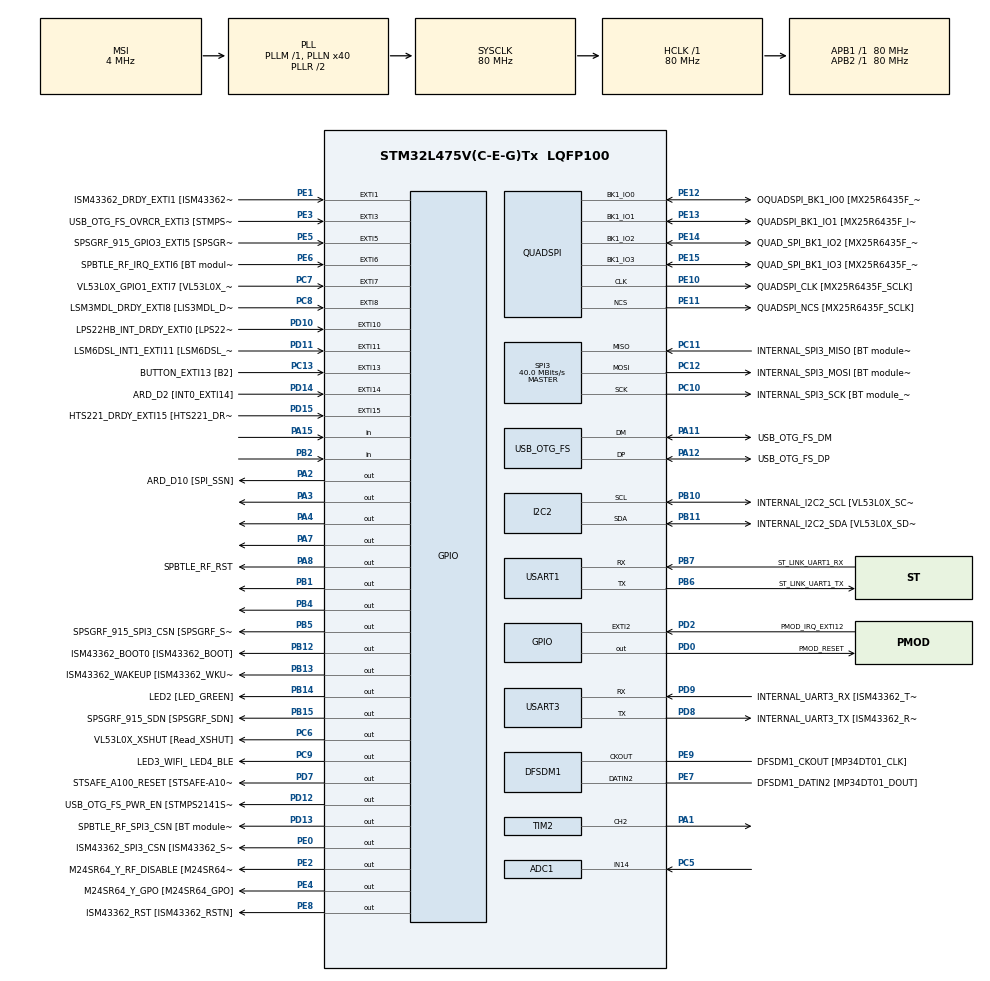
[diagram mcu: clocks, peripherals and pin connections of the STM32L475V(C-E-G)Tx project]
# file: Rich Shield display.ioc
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ADC1.Channel-1\#ChannelRegularConversion=ADC_CHANNEL_14
ADC1.NbrOfConversionFlag=1
ADC1.OffsetNumber-1\#ChannelRegularConversion=ADC_OFFSET_NONE
ADC1.Rank-1\#ChannelRegularConversion=1
ADC1.SamplingTime-1\#ChannelRegularConversion=ADC_SAMPLETIME_2CYCLES_5
ADC1.master=1
I2C2.Timing=0x10909CEC
Mcu.Family=STM32L4
Mcu.Name=STM32L475V(C-E-G)Tx
Mcu.Package=LQFP100
NVIC.EXTI15_10_IRQn=true\:0\:0\:false\:false\:true\:true\:true\:true
NVIC.EXTI9_5_IRQn=true\:0\:0\:false\:false\:true\:true\:true\:true
NVIC.PriorityGroup=NVIC_PRIORITYGROUP_4
NVIC.TIM7_IRQn=true\:0\:0\:false\:false\:true\:true\:true\:true
PA0.GPIO_PuPd=GPIO_PULLUP
PA0.GPIO_Speed=GPIO_SPEED_FREQ_HIGH
PA0.Signal=S_TIM2_CH1
PA1.GPIO_PuPd=GPIO_PULLUP
PA1.GPIO_Speed=GPIO_SPEED_FREQ_HIGH
PA1.Signal=S_TIM2_CH2
PA10.GPIO_Label=USB_OTG_FS_ID
PA10.Signal=USB_OTG_FS_ID
PA11.GPIO_Label=USB_OTG_FS_DM
PA11.Mode=Device_Only
PA11.Signal=USB_OTG_FS_DM
PA12.GPIO_Label=USB_OTG_FS_DP
PA12.Mode=Device_Only
PA12.Signal=USB_OTG_FS_DP
PA13\ (JTMS-SWDIO).GPIO_Label=SYS_JTMS_SWDIO
PA13\ (JTMS-SWDIO).Mode=Serial_Wire
PA13\ (JTMS-SWDIO).Signal=SYS_JTMS-SWDIO
PA14\ (JTCK-SWCLK).GPIO_Label=SYS_JTCK_SWCLK
PA14\ (JTCK-SWCLK).Mode=Serial_Wire
PA14\ (JTCK-SWCLK).Signal=SYS_JTCK-SWCLK
PA15\ (JTDI).GPIO_PuPd=GPIO_PULLUP
PA15\ (JTDI).Signal=GPIO_Input
PA2.GPIO_Label=ARD_D10 [SPI_SSN]
PA2.PinState=GPIO_PIN_SET
PA2.Signal=GPIO_Output
PA3.Signal=GPIO_Output
PA4.Signal=GPIO_Output
PA5.GPIO_Label=ARD_D13 [SPI1_SCK]
PA5.Signal=SPI1_SCK
PA6.GPIO_Label=ARD_D12 [SPI1_MISO]
PA6.Signal=SPI1_MISO
PA7.GPIO_ModeDefaultOutputPP=GPIO_MODE_OUTPUT_PP
PA7.PinState=GPIO_PIN_SET
PA7.Signal=GPIO_Output
PA8.GPIO_Label=SPBTLE_RF_RST
PA8.Signal=GPIO_Output
PA9.GPIO_Label=USB_OTG_FS_VBUS [STMPS2141STR_OUT]
PA9.Signal=USB_OTG_FS_VBUS
PB1.GPIO_Speed=GPIO_SPEED_FREQ_HIGH
PB1.Signal=GPIO_Output
PB10.GPIO_Label=INTERNAL_I2C2_SCL [VL53L0X_SCL]
PB10.GPIO_Pu=GPIO_PULLUP
PB10.Mode=I2C
PB10.Signal=I2C2_SCL
PB11.GPIO_Label=INTERNAL_I2C2_SDA [VL53L0X_SDA]
PB11.GPIO_Pu=GPIO_PULLUP
PB11.Mode=I2C
PB11.Signal=I2C2_SDA
PB12.GPIO_Label=ISM43362_BOOT0 [ISM43362_BOOT]
PB12.Signal=GPIO_Output
PB13.GPIO_Label=ISM43362_WAKEUP [ISM43362_WKUP]
PB13.Signal=GPIO_Output
PB14.GPIO_Label=LED2 [LED_GREEN]
PB14.Signal=GPIO_Output
PB15.GPIO_Label=SPSGRF_915_SDN [SPSGRF_SDN]
PB15.Signal=GPIO_Output
PB2.GPIO_PuPd=GPIO_PULLUP
PB2.Signal=GPIO_Input
PB3\ (JTDO-TRACESWO).GPIO_Label=SYS_JTD0_SWO
PB3\ (JTDO-TRACESWO).Signal=SYS_JTDO-SWO
PB4\ (NJTRST).Signal=GPIO_Output
PB5.GPIO_Label=SPSGRF_915_SPI3_CSN [SPSGRF_SPI_CS]
PB5.PinState=GPIO_PIN_SET
PB5.Signal=GPIO_Output
PB6.GPIO_Label=ST_LINK_UART1_TX
PB6.Mode=Asynchronous
PB6.Signal=USART1_TX
PB7.GPIO_Label=ST_LINK_UART1_RX
PB7.Mode=Asynchronous
PB7.Signal=USART1_RX
PB8.GPIO_Label=ARD_D15 [I2C1_SCL]
PB8.Signal=I2C1_SCL
PB9.GPIO_Label=ARD_D14 [I2C1_SDA]
PB9.Signal=I2C1_SDA
PC0.GPIO_Label=ARD_A5 [ADC]
PC0.Signal=ADCx_IN1
PC1.GPIO_Label=ARD_A4 [ADC]
PC1.Signal=ADCx_IN2
PC10.GPIO_Label=INTERNAL_SPI3_SCK [BT module_SPI_SCLK] [ISM43362_SCK]
PC10.Mode=Full_Duplex_Master
PC10.Signal=SPI3_SCK
PC11.GPIO_Label=INTERNAL_SPI3_MISO [BT module_SPI_MISO] [ISM43362_MISO]
PC11.Mode=Full_Duplex_Master
PC11.Signal=SPI3_MISO
PC12.GPIO_Label=INTERNAL_SPI3_MOSI [BT module_SPI_MOSI] [ISM43362_MOSI]
PC12.Mode=Full_Duplex_Master
PC12.Signal=SPI3_MOSI
PC13.GPIO_Label=BUTTON_EXTI13 [B2]
PC13.GPIO_ModeDefaultEXTI=GPIO_MODE_IT_FALLING
PC13.Signal=GPXTI13
PC14-OSC32_IN\ (PC14).Mode=LSE-External-Oscillator
PC14-OSC32_IN\ (PC14).Signal=RCC_OSC32_IN
PC15-OSC32_OUT\ (PC15).Mode=LSE-External-Oscillator
PC15-OSC32_OUT\ (PC15).Signal=RCC_OSC32_OUT
PC2.GPIO_Label=ARD_A3 [ADC]
PC2.Signal=ADCx_IN3
PC3.GPIO_Label=ARD_A2 [ADC]
PC3.Signal=ADCx_IN4
PC4.GPIO_Label=ARD_A1 [ADC]
PC4.Signal=ADCx_IN13
PC5.Signal=ADCx_IN14
PC6.GPIO_Label=VL53L0X_XSHUT [Read_XSHUT]
PC6.Signal=GPIO_Output
PC7.GPIO_Label=VL53L0X_GPIO1_EXTI7 [VL53L0X_GPIO1]
PC7.Signal=GPXTI7
PC8.GPIO_Label=LSM3MDL_DRDY_EXTI8 [LIS3MDL_DRDY]
PC8.Signal=GPXTI8
PC9.GPIO_Label=LED3_WIFI_ LED4_BLE
PC9.Signal=GPIO_Output
PD0.GPIO_Label=PMOD_RESET
PD0.Signal=GPIO_Output
PD1.GPIO_Label=PMOD_SPI2_SCK
PD1.Signal=SPI2_SCK
PD10.GPIO_Label=LPS22HB_INT_DRDY_EXTI0 [LPS22HB_INT_DRDY] 
PD10.Signal=GPXTI10
PD11.GPIO_Label=LSM6DSL_INT1_EXTI11 [LSM6DSL_INT1]
PD11.Signal=GPXTI11
PD12.GPIO_Label=USB_OTG_FS_PWR_EN [STMPS2141STR_EN]
PD12.Signal=GPIO_Output
PD13.GPIO_Label=SPBTLE_RF_SPI3_CSN [BT module_SPI_CS]
PD13.PinState=GPIO_PIN_SET
PD13.Signal=GPIO_Output
PD14.GPIO_Label=ARD_D2 [INT0_EXTI14]
PD14.Signal=GPXTI14
PD15.GPIO_Label=HTS221_DRDY_EXTI15 [HTS221_DRDY]
PD15.Signal=GPXTI15
PD2.GPIO_Label=PMOD_IRQ_EXTI12
PD2.Signal=GPXTI2
PD3.GPIO_Label=PMOD_UART2_CTS
PD3.Signal=USART2_CTS
PD4.GPIO_Label=PMOD_UART2_RTS
PD4.Signal=USART2_RTS
PD5.GPIO_Label=PMOD_UART2_TX
PD5.Signal=USART2_TX
PD6.GPIO_Label=PMOD_UART2_RX
PD6.Signal=USART2_RX
PD7.GPIO_Label=STSAFE_A100_RESET [STSAFE-A100_RESET]
PD7.Signal=GPIO_Output
PD8.GPIO_Label=INTERNAL_UART3_TX [ISM43362_RX]
PD8.Mode=Asynchronous
PD8.Signal=USART3_TX
PD9.GPIO_Label=INTERNAL_UART3_RX [ISM43362_TX]
PD9.Mode=Asynchronous
PD9.Signal=USART3_RX
PE0.GPIO_Label=ISM43362_SPI3_CSN [ISM43362_SSN]
PE0.PinState=GPIO_PIN_SET
PE0.Signal=GPIO_Output
PE1.GPIO_Label=ISM43362_DRDY_EXTI1 [ISM43362_DATARDY]
PE1.Signal=GPXTI1
PE10.GPIO_Label=QUADSPI_CLK [MX25R6435F_SCLK]
PE10.Mode=Single Bank
PE10.Signal=QUADSPI_CLK
PE11.GPIO_Label=QUADSPI_NCS [MX25R6435F_SCLK]
PE11.Mode=Single Bank
PE11.Signal=QUADSPI_NCS
PE12.GPIO_Label=OQUADSPI_BK1_IO0 [MX25R6435F_IO0]
PE12.Mode=Single Bank
PE12.Signal=QUADSPI_BK1_IO0
PE13.GPIO_Label=QUADSPI_BK1_IO1 [MX25R6435F_IO1]
PE13.Mode=Single Bank
PE13.Signal=QUADSPI_BK1_IO1
PE14.GPIO_Label=QUAD_SPI_BK1_IO2 [MX25R6435F_IO2]
PE14.Mode=Single Bank
PE14.Signal=QUADSPI_BK1_IO2
PE15.GPIO_Label=QUAD_SPI_BK1_IO3 [MX25R6435F_IO3]
PE15.Mode=Single Bank
PE15.Signal=QUADSPI_BK1_IO3
PE2.GPIO_Label=M24SR64_Y_RF_DISABLE [M24SR64_RFDIS]
PE2.Signal=GPIO_Output
PE3.GPIO_Label=USB_OTG_FS_OVRCR_EXTI3 [STMPS2141STR_FAULT]
PE3.Signal=GPXTI3
PE4.GPIO_Label=M24SR64_Y_GPO [M24SR64_GPO]
PE4.Signal=GPIO_Output
PE5.GPIO_Label=SPSGRF_915_GPIO3_EXTI5 [SPSGRF_GPIO_3]
PE5.Signal=GPXTI5
PE6.GPIO_Label=SPBTLE_RF_IRQ_EXTI6 [BT module_SPI_IRQ]
PE6.Signal=GPXTI6
PE7.GPIO_Label=DFSDM1_DATIN2 [MP34DT01_DOUT]
PE7.Signal=S_DATAIN2DFSDM1
PE8.GPIO_Label=ISM43362_RST [ISM43362_RSTN]
PE8.Signal=GPIO_Output
PE9.GPIO_Label=DFSDM1_CKOUT [MP34DT01_CLK]
PE9.Signal=S_CKOUTDFSDM1
ProjectManager.HeapSize=0x200
ProjectManager.StackSize=0x400
ProjectManager.TargetToolchain=STM32CubeIDE
RCC.ADCFreq_Value=48000000
RCC.AHBFreq_Value=80000000
RCC.APB1Freq_Value=80000000
RCC.APB1TimFreq_Value=80000000
RCC.APB2Freq_Value=80000000
RCC.APB2TimFreq_Value=80000000
RCC.CortexFreq_Value=80000000
RCC.HCLKFreq_Value=80000000
RCC.HSE_VALUE=8000000
RCC.HSI_VALUE=16000000
RCC.MSI_VALUE=4000000
RCC.PLLN=40
RCC.PLLSAI1N=24
RCC.SYSCLKFreq_VALUE=80000000
RCC.SYSCLKSource=RCC_SYSCLKSOURCE_PLLCLK
RCC.USBFreq_Value=48000000
RCC.VCOOutputFreq_Value=160000000
SH.ADCx_IN1.0=ADC1_IN1
SH.ADCx_IN13.0=ADC1_IN13
SH.ADCx_IN14.0=ADC1_IN14,IN14-Single-Ended
SH.ADCx_IN2.0=ADC1_IN2
SH.ADCx_IN3.0=ADC1_IN3
SH.ADCx_IN4.0=ADC1_IN4
SH.S_CKOUTDFSDM1.0=DFSDM1_CKOUT,CKOUT
SH.S_CKOUTDFSDM1.1=DFSDM1_CKOUT,PDM_SPI_Input_from_ch12_and_Internal_Clock
SH.S_DATAIN2DFSDM1.0=DFSDM1_DATIN2,PDM_SPI_Input_from_ch12_and_Internal_Clock
SH.S_TIM2_CH1.0=TIM2_CH1
SH.S_TIM2_CH2.0=TIM2_CH2,PWM Generation2 CH2
SPI3.CalculateBaudRate=40.0 MBits/s
SPI3.Direction=SPI_DIRECTION_2LINES
SPI3.Mode=SPI_MODE_MASTER
SPI3.VirtualType=VM_MASTER
TIM2.AutoReloadPreload=TIM_AUTORELOAD_PRELOAD_ENABLE
TIM2.Channel-PWM\ Generation2\ CH2=TIM_CHANNEL_2
TIM2.Period=1600000
TIM3.AutoReloadPreload=TIM_AUTORELOAD_PRELOAD_ENABLE
TIM3.ClockDivision=TIM_CLOCKDIVISION_DIV4
TIM7.AutoReloadPreload=TIM_AUTORELOAD_PRELOAD_DISABLE
TIM7.Prescaler=10
TIM8.AutoReloadPreload=TIM_AUTORELOAD_PRELOAD_ENABLE
TIM8.Prescaler=10
USART1.VirtualMode-Asynchronous=VM_ASYNC
USART3.VirtualMode-Asynchronous=VM_ASYNC
USB_OTG_FS.VirtualMode=Device_Only
VP_TIM2_VS_ClockSourceINT.Mode=Internal
VP_TIM3_VS_ClockSourceINT.Mode=Internal
VP_TIM7_VS_ClockSourceINT.Mode=Enable_Timer
VP_TIM8_VS_ClockSourceINT.Mode=Internal
board=B-L475E-IOT01A1

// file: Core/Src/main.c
/* USER CODE BEGIN Header */
/**
  ******************************************************************************
  * @file           : main.c
  * @brief          : Main program body
  ******************************************************************************
  * @attention
  *
  * <h2><center>&copy; Copyright (c) 2021 STMicroelectronics.
  * All rights reserved.</center></h2>
  *
  * This software component is licensed by ST under BSD 3-Clause license,
  * the "License"; You may not use this file except in compliance with the
  * License. You may obtain a copy of the License at:
  *                        opensource.org/licenses/BSD-3-Clause
  *
  ******************************************************************************
  */
/* USER CODE END Header */
#include "main.h"

ADC_HandleTypeDef hadc1;

DFSDM_Channel_HandleTypeDef hdfsdm1_channel1;

I2C_HandleTypeDef hi2c2;

QSPI_HandleTypeDef hqspi;

SPI_HandleTypeDef hspi3;

TIM_HandleTypeDef htim2;
TIM_HandleTypeDef htim3;
TIM_HandleTypeDef htim7;
TIM_HandleTypeDef htim8;

UART_HandleTypeDef huart1;
UART_HandleTypeDef huart3;

PCD_HandleTypeDef hpcd_USB_OTG_FS;

/* USER CODE BEGIN PV */
//
//      A
//     ---
//  F |   | B
//     -G-
//  E |   | C
//     ---
//      D
const uint8_t digitToSegment[] = {  //list found on github
 // XGFEDCBA
  0b00111111,    // 0
  0b00000110,    // 1
  0b01011011,    // 2
  0b01001111,    // 3
  0b01100110,    // 4
  0b01101101,    // 5
  0b01111101,    // 6
  0b00000111,    // 7
  0b01111111,    // 8
  0b01101111,    // 9
  0b01110111,    // A
  0b01111100,    // b
  0b00111001,    // C
  0b01011110,    // d
  0b01111001,    // E
  0b01110001     // F
  };

/* USER CODE END PV */

void SystemClock_Config(void);
void PeriphCommonClock_Config(void);
static void MX_GPIO_Init(void);
static void MX_DFSDM1_Init(void);
static void MX_I2C2_Init(void);
static void MX_QUADSPI_Init(void);
static void MX_SPI3_Init(void);
static void MX_USART1_UART_Init(void);
static void MX_USART3_UART_Init(void);
static void MX_USB_OTG_FS_PCD_Init(void);
static void MX_TIM7_Init(void);
static void MX_TIM8_Init(void);
static void MX_TIM2_Init(void);
static void MX_TIM3_Init(void);
static void MX_ADC1_Init(void);

/* USER CODE BEGIN 0 */
void Display_CLK(uint8_t level)
{
	 HAL_GPIO_WritePin(GPIOA,GPIO_PIN_2,level);
	 //HAL_Delay(1);
}

void Display_DIO(uint8_t level)
{
	 HAL_GPIO_WritePin(GPIOA,GPIO_PIN_7,level);
	 //HAL_Delay(1);
}

void I2Cstart(void)
{
	  Display_DIO(1);
	  Display_CLK(1); //I2C start condition
	  Display_DIO(0); //high to low data while clk high
	  Display_CLK(0);
}

void I2Cstop(void)
{
	Display_DIO(0);
	Display_CLK(1); //I2C stop condition
	Display_DIO(1); //low to high data while clk high

}

void I2Cwritebyte(uint8_t databyte)  //LSB first for TM1637 chip!!!
{
	for (uint8_t n=0;n<=7;n++)
	{
		if ((databyte&0x01)>0)
			Display_DIO(1);
		else
			Display_DIO(0);
		Display_CLK(1);
		databyte>>=1;
		Display_CLK(0);
	}
	Display_CLK(1); //9th clk  ACK ignored
	Display_CLK(0);
}

void I2Cwritesegment(uint8_t segmentnr, uint8_t hexdigit)
{
	 I2Cstart();
	 I2Cwritebyte(0x40);  //command1 write data to display register
	 I2Cstop();
	 I2Cstart();
	 I2Cwritebyte(0xc0+(segmentnr&0x03));  //command2  display address
	 I2Cwritebyte(digitToSegment[hexdigit&0x0F]);  //data1
	 I2Cstop();

	 I2Cstart();
	 I2Cwritebyte(0x88);  //display control --> display on
	 I2Cstop();
}

void I2CwriteDECnumber(unsigned int number)
{
	for (int8_t digitnr=3;digitnr>=0;digitnr--)
	{
	I2Cwritesegment(digitnr,number%10);
	number/=10;
	}
}

/* USER CODE END 0 */

int main(void)
{

  /* MCU Configuration--------------------------------------------------------*/

  /* Reset of all peripherals, Initializes the Flash interface and the Systick. */
  HAL_Init();

  /* Configure the system clock */
  SystemClock_Config();

/* Configure the peripherals common clocks */
  PeriphCommonClock_Config();

  /* Initialize all configured peripherals */
  MX_GPIO_Init();
  MX_DFSDM1_Init();
  MX_I2C2_Init();
  MX_QUADSPI_Init();
  MX_SPI3_Init();
  MX_USART1_UART_Init();
  MX_USART3_UART_Init();
  MX_USB_OTG_FS_PCD_Init();
  MX_TIM7_Init();
  MX_TIM8_Init();
  MX_TIM2_Init();
  MX_TIM3_Init();
  MX_ADC1_Init();

  /* Infinite loop */
  /* USER CODE BEGIN WHILE */

  HAL_TIM_PWM_Start(&htim2, TIM_CHANNEL_2);

  HAL_TIM_Base_Start_IT(&htim7);  //to start with interrupt, the one for dimming the blue LED

  HAL_ADCEx_Calibration_Start(&hadc1,1);

  int avgbuffer[10];
  int avgindex=0;
  int som,n,ticks,microseconds;

  while (1)
  {
	  HAL_GPIO_TogglePin(GPIOA,GPIO_PIN_4);

	  HAL_Delay(50);

	  HAL_ADC_Start(&hadc1);
	  HAL_ADC_PollForConversion(&hadc1,1);

	  avgbuffer[avgindex++]=HAL_ADC_GetValue(&hadc1);
	  if (avgindex>9)
		  avgindex=0;
	  som=0;
	  for (n=0;n<10;n++)
		  som+=avgbuffer[n];

	  som/=10;  //som will now contain the average of the last ten 12-bit samples

	  //microseconds=900+(1200*som)/4095; //servo range 900 - 2100 us This was for a large servo

	  som=4095-som; //reverses response so servo rotates in same direction as potmeter
	  microseconds=300+(1900*som)/4095; //servo range 300 - 2200 us  = 180 degrees with mini servo
	  //Longer pulses >2700 us caused continuous CCW rotation with my servo (PVT 2021)

	  I2CwriteDECnumber(microseconds); //write the pulse width in us on the LED display

	  ticks=80*microseconds;  //number of ticks = 80 MHz clock speed * time in us

	  TIM2->CCR2=ticks; //set pulse width

    /* USER CODE END WHILE */

  }
}

void SystemClock_Config(void)
{
  RCC_OscInitTypeDef RCC_OscInitStruct = {0};
  RCC_ClkInitTypeDef RCC_ClkInitStruct = {0};

  /** Configure the main internal regulator output voltage
  */
  if (HAL_PWREx_ControlVoltageScaling(PWR_REGULATOR_VOLTAGE_SCALE1) != HAL_OK)
  {
    Error_Handler();
  }

  /** Configure LSE Drive Capability
  */
  HAL_PWR_EnableBkUpAccess();
  __HAL_RCC_LSEDRIVE_CONFIG(RCC_LSEDRIVE_LOW);

  /** Initializes the RCC Oscillators according to the specified parameters
  * in the RCC_OscInitTypeDef structure.
  */
  RCC_OscInitStruct.OscillatorType = RCC_OSCILLATORTYPE_LSE|RCC_OSCILLATORTYPE_MSI;
  RCC_OscInitStruct.LSEState = RCC_LSE_ON;
  RCC_OscInitStruct.MSIState = RCC_MSI_ON;
  RCC_OscInitStruct.MSICalibrationValue = 0;
  RCC_OscInitStruct.MSIClockRange = RCC_MSIRANGE_6;
  RCC_OscInitStruct.PLL.PLLState = RCC_PLL_ON;
  RCC_OscInitStruct.PLL.PLLSource = RCC_PLLSOURCE_MSI;
  RCC_OscInitStruct.PLL.PLLM = 1;
  RCC_OscInitStruct.PLL.PLLN = 40;
  RCC_OscInitStruct.PLL.PLLP = RCC_PLLP_DIV7;
  RCC_OscInitStruct.PLL.PLLQ = RCC_PLLQ_DIV2;
  RCC_OscInitStruct.PLL.PLLR = RCC_PLLR_DIV2;
  if (HAL_RCC_OscConfig(&RCC_OscInitStruct) != HAL_OK)
  {
    Error_Handler();
  }

  /** Initializes the CPU, AHB and APB buses clocks
  */
  RCC_ClkInitStruct.ClockType = RCC_CLOCKTYPE_HCLK|RCC_CLOCKTYPE_SYSCLK
                              |RCC_CLOCKTYPE_PCLK1|RCC_CLOCKTYPE_PCLK2;
  RCC_ClkInitStruct.SYSCLKSource = RCC_SYSCLKSOURCE_PLLCLK;
  RCC_ClkInitStruct.AHBCLKDivider = RCC_SYSCLK_DIV1;
  RCC_ClkInitStruct.APB1CLKDivider = RCC_HCLK_DIV1;
  RCC_ClkInitStruct.APB2CLKDivider = RCC_HCLK_DIV1;

  if (HAL_RCC_ClockConfig(&RCC_ClkInitStruct, FLASH_LATENCY_4) != HAL_OK)
  {
    Error_Handler();
  }

  /** Enable MSI Auto calibration
  */
  HAL_RCCEx_EnableMSIPLLMode();
}

void PeriphCommonClock_Config(void)
{
  RCC_PeriphCLKInitTypeDef PeriphClkInit = {0};

  /** Initializes the peripherals clock
  */
  PeriphClkInit.PeriphClockSelection = RCC_PERIPHCLK_USB|RCC_PERIPHCLK_ADC;
  PeriphClkInit.AdcClockSelection = RCC_ADCCLKSOURCE_PLLSAI1;
  PeriphClkInit.UsbClockSelection = RCC_USBCLKSOURCE_PLLSAI1;
  PeriphClkInit.PLLSAI1.PLLSAI1Source = RCC_PLLSOURCE_MSI;
  PeriphClkInit.PLLSAI1.PLLSAI1M = 1;
  PeriphClkInit.PLLSAI1.PLLSAI1N = 24;
  PeriphClkInit.PLLSAI1.PLLSAI1P = RCC_PLLP_DIV7;
  PeriphClkInit.PLLSAI1.PLLSAI1Q = RCC_PLLQ_DIV2;
  PeriphClkInit.PLLSAI1.PLLSAI1R = RCC_PLLR_DIV2;
  PeriphClkInit.PLLSAI1.PLLSAI1ClockOut = RCC_PLLSAI1_48M2CLK|RCC_PLLSAI1_ADC1CLK;
  if (HAL_RCCEx_PeriphCLKConfig(&PeriphClkInit) != HAL_OK)
  {
    Error_Handler();
  }
}

static void MX_ADC1_Init(void)
{

  ADC_MultiModeTypeDef multimode = {0};
  ADC_ChannelConfTypeDef sConfig = {0};

  /** Common config
  */
  hadc1.Instance = ADC1;
  hadc1.Init.ClockPrescaler = ADC_CLOCK_ASYNC_DIV1;
  hadc1.Init.Resolution = ADC_RESOLUTION_12B;
  hadc1.Init.DataAlign = ADC_DATAALIGN_RIGHT;
  hadc1.Init.ScanConvMode = ADC_SCAN_DISABLE;
  hadc1.Init.EOCSelection = ADC_EOC_SINGLE_CONV;
  hadc1.Init.LowPowerAutoWait = DISABLE;
  hadc1.Init.ContinuousConvMode = DISABLE;
  hadc1.Init.NbrOfConversion = 1;
  hadc1.Init.DiscontinuousConvMode = DISABLE;
  hadc1.Init.ExternalTrigConv = ADC_SOFTWARE_START;
  hadc1.Init.ExternalTrigConvEdge = ADC_EXTERNALTRIGCONVEDGE_NONE;
  hadc1.Init.DMAContinuousRequests = DISABLE;
  hadc1.Init.Overrun = ADC_OVR_DATA_PRESERVED;
  hadc1.Init.OversamplingMode = DISABLE;
  if (HAL_ADC_Init(&hadc1) != HAL_OK)
  {
    Error_Handler();
  }

  /** Configure the ADC multi-mode
  */
  multimode.Mode = ADC_MODE_INDEPENDENT;
  if (HAL_ADCEx_MultiModeConfigChannel(&hadc1, &multimode) != HAL_OK)
  {
    Error_Handler();
  }

  /** Configure Regular Channel
  */
  sConfig.Channel = ADC_CHANNEL_14;
  sConfig.Rank = ADC_REGULAR_RANK_1;
  sConfig.SamplingTime = ADC_SAMPLETIME_2CYCLES_5;
  sConfig.SingleDiff = ADC_SINGLE_ENDED;
  sConfig.OffsetNumber = ADC_OFFSET_NONE;
  sConfig.Offset = 0;
  if (HAL_ADC_ConfigChannel(&hadc1, &sConfig) != HAL_OK)
  {
    Error_Handler();
  }

}

static void MX_DFSDM1_Init(void)
{

  hdfsdm1_channel1.Instance = DFSDM1_Channel1;
  hdfsdm1_channel1.Init.OutputClock.Activation = ENABLE;
  hdfsdm1_channel1.Init.OutputClock.Selection = DFSDM_CHANNEL_OUTPUT_CLOCK_SYSTEM;
  hdfsdm1_channel1.Init.OutputClock.Divider = 2;
  hdfsdm1_channel1.Init.Input.Multiplexer = DFSDM_CHANNEL_EXTERNAL_INPUTS;
  hdfsdm1_channel1.Init.Input.DataPacking = DFSDM_CHANNEL_STANDARD_MODE;
  hdfsdm1_channel1.Init.Input.Pins = DFSDM_CHANNEL_FOLLOWING_CHANNEL_PINS;
  hdfsdm1_channel1.Init.SerialInterface.Type = DFSDM_CHANNEL_SPI_RISING;
  hdfsdm1_channel1.Init.SerialInterface.SpiClock = DFSDM_CHANNEL_SPI_CLOCK_INTERNAL;
  hdfsdm1_channel1.Init.Awd.FilterOrder = DFSDM_CHANNEL_FASTSINC_ORDER;
  hdfsdm1_channel1.Init.Awd.Oversampling = 1;
  hdfsdm1_channel1.Init.Offset = 0;
  hdfsdm1_channel1.Init.RightBitShift = 0x00;
  if (HAL_DFSDM_ChannelInit(&hdfsdm1_channel1) != HAL_OK)
  {
    Error_Handler();
  }

}

static void MX_I2C2_Init(void)
{

  hi2c2.Instance = I2C2;
  hi2c2.Init.Timing = 0x10909CEC;
  hi2c2.Init.OwnAddress1 = 0;
  hi2c2.Init.AddressingMode = I2C_ADDRESSINGMODE_7BIT;
  hi2c2.Init.DualAddressMode = I2C_DUALADDRESS_DISABLE;
  hi2c2.Init.OwnAddress2 = 0;
  hi2c2.Init.OwnAddress2Masks = I2C_OA2_NOMASK;
  hi2c2.Init.GeneralCallMode = I2C_GENERALCALL_DISABLE;
  hi2c2.Init.NoStretchMode = I2C_NOSTRETCH_DISABLE;
  if (HAL_I2C_Init(&hi2c2) != HAL_OK)
  {
    Error_Handler();
  }

  /** Configure Analogue filter
  */
  if (HAL_I2CEx_ConfigAnalogFilter(&hi2c2, I2C_ANALOGFILTER_ENABLE) != HAL_OK)
  {
    Error_Handler();
  }

  /** Configure Digital filter
  */
  if (HAL_I2CEx_ConfigDigitalFilter(&hi2c2, 0) != HAL_OK)
  {
    Error_Handler();
  }

}

static void MX_QUADSPI_Init(void)
{

  /* QUADSPI parameter configuration*/
  hqspi.Instance = QUADSPI;
  hqspi.Init.ClockPrescaler = 255;
  hqspi.Init.FifoThreshold = 1;
  hqspi.Init.SampleShifting = QSPI_SAMPLE_SHIFTING_NONE;
  hqspi.Init.FlashSize = 1;
  hqspi.Init.ChipSelectHighTime = QSPI_CS_HIGH_TIME_1_CYCLE;
  hqspi.Init.ClockMode = QSPI_CLOCK_MODE_0;
  if (HAL_QSPI_Init(&hqspi) != HAL_OK)
  {
    Error_Handler();
  }

}

static void MX_SPI3_Init(void)
{

  /* SPI3 parameter configuration*/
  hspi3.Instance = SPI3;
  hspi3.Init.Mode = SPI_MODE_MASTER;
  hspi3.Init.Direction = SPI_DIRECTION_2LINES;
  hspi3.Init.DataSize = SPI_DATASIZE_4BIT;
  hspi3.Init.CLKPolarity = SPI_POLARITY_LOW;
  hspi3.Init.CLKPhase = SPI_PHASE_1EDGE;
  hspi3.Init.NSS = SPI_NSS_SOFT;
  hspi3.Init.BaudRatePrescaler = SPI_BAUDRATEPRESCALER_2;
  hspi3.Init.FirstBit = SPI_FIRSTBIT_MSB;
  hspi3.Init.TIMode = SPI_TIMODE_DISABLE;
  hspi3.Init.CRCCalculation = SPI_CRCCALCULATION_DISABLE;
  hspi3.Init.CRCPolynomial = 7;
  hspi3.Init.CRCLength = SPI_CRC_LENGTH_DATASIZE;
  hspi3.Init.NSSPMode = SPI_NSS_PULSE_ENABLE;
  if (HAL_SPI_Init(&hspi3) != HAL_OK)
  {
    Error_Handler();
  }

}

static void MX_TIM2_Init(void)
{

  TIM_ClockConfigTypeDef sClockSourceConfig = {0};
  TIM_MasterConfigTypeDef sMasterConfig = {0};
  TIM_OC_InitTypeDef sConfigOC = {0};

  htim2.Instance = TIM2;
  htim2.Init.Prescaler = 0;
  htim2.Init.CounterMode = TIM_COUNTERMODE_UP;
  htim2.Init.Period = 1600000;
  htim2.Init.ClockDivision = TIM_CLOCKDIVISION_DIV1;
  htim2.Init.AutoReloadPreload = TIM_AUTORELOAD_PRELOAD_ENABLE;
  if (HAL_TIM_Base_Init(&htim2) != HAL_OK)
  {
    Error_Handler();
  }
  sClockSourceConfig.ClockSource = TIM_CLOCKSOURCE_INTERNAL;
  if (HAL_TIM_ConfigClockSource(&htim2, &sClockSourceConfig) != HAL_OK)
  {
    Error_Handler();
  }
  if (HAL_TIM_PWM_Init(&htim2) != HAL_OK)
  {
    Error_Handler();
  }
  sMasterConfig.MasterOutputTrigger = TIM_TRGO_RESET;
  sMasterConfig.MasterSlaveMode = TIM_MASTERSLAVEMODE_DISABLE;
  if (HAL_TIMEx_MasterConfigSynchronization(&htim2, &sMasterConfig) != HAL_OK)
  {
    Error_Handler();
  }
  sConfigOC.OCMode = TIM_OCMODE_PWM1;
  sConfigOC.Pulse = 0;
  sConfigOC.OCPolarity = TIM_OCPOLARITY_HIGH;
  sConfigOC.OCFastMode = TIM_OCFAST_DISABLE;
  if (HAL_TIM_PWM_ConfigChannel(&htim2, &sConfigOC, TIM_CHANNEL_2) != HAL_OK)
  {
    Error_Handler();
  }
  HAL_TIM_MspPostInit(&htim2);

}

static void MX_TIM3_Init(void)
{

  TIM_ClockConfigTypeDef sClockSourceConfig = {0};
  TIM_MasterConfigTypeDef sMasterConfig = {0};

  htim3.Instance = TIM3;
  htim3.Init.Prescaler = 0;
  htim3.Init.CounterMode = TIM_COUNTERMODE_UP;
  htim3.Init.Period = 65535;
  htim3.Init.ClockDivision = TIM_CLOCKDIVISION_DIV4;
  htim3.Init.AutoReloadPreload = TIM_AUTORELOAD_PRELOAD_ENABLE;
  if (HAL_TIM_Base_Init(&htim3) != HAL_OK)
  {
    Error_Handler();
  }
  sClockSourceConfig.ClockSource = TIM_CLOCKSOURCE_INTERNAL;
  if (HAL_TIM_ConfigClockSource(&htim3, &sClockSourceConfig) != HAL_OK)
  {
    Error_Handler();
  }
  sMasterConfig.MasterOutputTrigger = TIM_TRGO_RESET;
  sMasterConfig.MasterSlaveMode = TIM_MASTERSLAVEMODE_DISABLE;
  if (HAL_TIMEx_MasterConfigSynchronization(&htim3, &sMasterConfig) != HAL_OK)
  {
    Error_Handler();
  }

}

static void MX_TIM7_Init(void)
{

  TIM_MasterConfigTypeDef sMasterConfig = {0};

  htim7.Instance = TIM7;
  htim7.Init.Prescaler = 10;
  htim7.Init.CounterMode = TIM_COUNTERMODE_UP;
  htim7.Init.Period = 65535;
  htim7.Init.AutoReloadPreload = TIM_AUTORELOAD_PRELOAD_DISABLE;
  if (HAL_TIM_Base_Init(&htim7) != HAL_OK)
  {
    Error_Handler();
  }
  sMasterConfig.MasterOutputTrigger = TIM_TRGO_RESET;
  sMasterConfig.MasterSlaveMode = TIM_MASTERSLAVEMODE_DISABLE;
  if (HAL_TIMEx_MasterConfigSynchronization(&htim7, &sMasterConfig) != HAL_OK)
  {
    Error_Handler();
  }

}

static void MX_TIM8_Init(void)
{

  TIM_ClockConfigTypeDef sClockSourceConfig = {0};
  TIM_MasterConfigTypeDef sMasterConfig = {0};

  htim8.Instance = TIM8;
  htim8.Init.Prescaler = 10;
  htim8.Init.CounterMode = TIM_COUNTERMODE_UP;
  htim8.Init.Period = 65535;
  htim8.Init.ClockDivision = TIM_CLOCKDIVISION_DIV1;
  htim8.Init.RepetitionCounter = 0;
  htim8.Init.AutoReloadPreload = TIM_AUTORELOAD_PRELOAD_ENABLE;
  if (HAL_TIM_Base_Init(&htim8) != HAL_OK)
  {
    Error_Handler();
  }
  sClockSourceConfig.ClockSource = TIM_CLOCKSOURCE_INTERNAL;
  if (HAL_TIM_ConfigClockSource(&htim8, &sClockSourceConfig) != HAL_OK)
  {
    Error_Handler();
  }
  sMasterConfig.MasterOutputTrigger = TIM_TRGO_RESET;
  sMasterConfig.MasterOutputTrigger2 = TIM_TRGO2_RESET;
  sMasterConfig.MasterSlaveMode = TIM_MASTERSLAVEMODE_DISABLE;
  if (HAL_TIMEx_MasterConfigSynchronization(&htim8, &sMasterConfig) != HAL_OK)
  {
    Error_Handler();
  }

}

static void MX_USART1_UART_Init(void)
{

  huart1.Instance = USART1;
  huart1.Init.BaudRate = 115200;
  huart1.Init.WordLength = UART_WORDLENGTH_8B;
  huart1.Init.StopBits = UART_STOPBITS_1;
  huart1.Init.Parity = UART_PARITY_NONE;
  huart1.Init.Mode = UART_MODE_TX_RX;
  huart1.Init.HwFlowCtl = UART_HWCONTROL_NONE;
  huart1.Init.OverSampling = UART_OVERSAMPLING_16;
  huart1.Init.OneBitSampling = UART_ONE_BIT_SAMPLE_DISABLE;
  huart1.AdvancedInit.AdvFeatureInit = UART_ADVFEATURE_NO_INIT;
  if (HAL_UART_Init(&huart1) != HAL_OK)
  {
    Error_Handler();
  }

}

static void MX_USART3_UART_Init(void)
{

  huart3.Instance = USART3;
  huart3.Init.BaudRate = 115200;
  huart3.Init.WordLength = UART_WORDLENGTH_8B;
  huart3.Init.StopBits = UART_STOPBITS_1;
  huart3.Init.Parity = UART_PARITY_NONE;
  huart3.Init.Mode = UART_MODE_TX_RX;
  huart3.Init.HwFlowCtl = UART_HWCONTROL_NONE;
  huart3.Init.OverSampling = UART_OVERSAMPLING_16;
  huart3.Init.OneBitSampling = UART_ONE_BIT_SAMPLE_DISABLE;
  huart3.AdvancedInit.AdvFeatureInit = UART_ADVFEATURE_NO_INIT;
  if (HAL_UART_Init(&huart3) != HAL_OK)
  {
    Error_Handler();
  }

}

static void MX_USB_OTG_FS_PCD_Init(void)
{

  hpcd_USB_OTG_FS.Instance = USB_OTG_FS;
  hpcd_USB_OTG_FS.Init.dev_endpoints = 6;
  hpcd_USB_OTG_FS.Init.speed = PCD_SPEED_FULL;
  hpcd_USB_OTG_FS.Init.phy_itface = PCD_PHY_EMBEDDED;
  hpcd_USB_OTG_FS.Init.Sof_enable = DISABLE;
  hpcd_USB_OTG_FS.Init.low_power_enable = DISABLE;
  hpcd_USB_OTG_FS.Init.lpm_enable = DISABLE;
  hpcd_USB_OTG_FS.Init.battery_charging_enable = DISABLE;
  hpcd_USB_OTG_FS.Init.use_dedicated_ep1 = DISABLE;
  hpcd_USB_OTG_FS.Init.vbus_sensing_enable = DISABLE;
  if (HAL_PCD_Init(&hpcd_USB_OTG_FS) != HAL_OK)
  {
    Error_Handler();
  }

}

static void MX_GPIO_Init(void)
{
  GPIO_InitTypeDef GPIO_InitStruct = {0};

  /* GPIO Ports Clock Enable */
  __HAL_RCC_GPIOE_CLK_ENABLE();
  __HAL_RCC_GPIOC_CLK_ENABLE();
  __HAL_RCC_GPIOA_CLK_ENABLE();
  __HAL_RCC_GPIOB_CLK_ENABLE();
  __HAL_RCC_GPIOD_CLK_ENABLE();

  /*Configure GPIO pin Output Level */
  HAL_GPIO_WritePin(GPIOE, M24SR64_Y_RF_DISABLE_Pin|M24SR64_Y_GPO_Pin|ISM43362_RST_Pin, GPIO_PIN_RESET);

  /*Configure GPIO pin Output Level */
  HAL_GPIO_WritePin(GPIOA, ARD_D10_Pin|GPIO_PIN_7, GPIO_PIN_SET);

  /*Configure GPIO pin Output Level */
  HAL_GPIO_WritePin(GPIOA, GPIO_PIN_3|GPIO_PIN_4|SPBTLE_RF_RST_Pin, GPIO_PIN_RESET);

  /*Configure GPIO pin Output Level */
  HAL_GPIO_WritePin(GPIOB, GPIO_PIN_1|ISM43362_BOOT0_Pin|ISM43362_WAKEUP_Pin|LED2_Pin
                          |SPSGRF_915_SDN_Pin|GPIO_PIN_4, GPIO_PIN_RESET);

  /*Configure GPIO pin Output Level */
  HAL_GPIO_WritePin(GPIOD, USB_OTG_FS_PWR_EN_Pin|PMOD_RESET_Pin|STSAFE_A100_RESET_Pin, GPIO_PIN_RESET);

  /*Configure GPIO pin Output Level */
  HAL_GPIO_WritePin(SPBTLE_RF_SPI3_CSN_GPIO_Port, SPBTLE_RF_SPI3_CSN_Pin, GPIO_PIN_SET);

  /*Configure GPIO pin Output Level */
  HAL_GPIO_WritePin(GPIOC, VL53L0X_XSHUT_Pin|LED3_WIFI__LED4_BLE_Pin, GPIO_PIN_RESET);

  /*Configure GPIO pin Output Level */
  HAL_GPIO_WritePin(SPSGRF_915_SPI3_CSN_GPIO_Port, SPSGRF_915_SPI3_CSN_Pin, GPIO_PIN_SET);

  /*Configure GPIO pin Output Level */
  HAL_GPIO_WritePin(ISM43362_SPI3_CSN_GPIO_Port, ISM43362_SPI3_CSN_Pin, GPIO_PIN_SET);

  /*Configure GPIO pins : M24SR64_Y_RF_DISABLE_Pin M24SR64_Y_GPO_Pin ISM43362_RST_Pin ISM43362_SPI3_CSN_Pin */
  GPIO_InitStruct.Pin = M24SR64_Y_RF_DISABLE_Pin|M24SR64_Y_GPO_Pin|ISM43362_RST_Pin|ISM43362_SPI3_CSN_Pin;
  GPIO_InitStruct.Mode = GPIO_MODE_OUTPUT_PP;
  GPIO_InitStruct.Pull = GPIO_NOPULL;
  GPIO_InitStruct.Speed = GPIO_SPEED_FREQ_LOW;
  HAL_GPIO_Init(GPIOE, &GPIO_InitStruct);

  /*Configure GPIO pins : USB_OTG_FS_OVRCR_EXTI3_Pin SPSGRF_915_GPIO3_EXTI5_Pin SPBTLE_RF_IRQ_EXTI6_Pin ISM43362_DRDY_EXTI1_Pin */
  GPIO_InitStruct.Pin = USB_OTG_FS_OVRCR_EXTI3_Pin|SPSGRF_915_GPIO3_EXTI5_Pin|SPBTLE_RF_IRQ_EXTI6_Pin|ISM43362_DRDY_EXTI1_Pin;
  GPIO_InitStruct.Mode = GPIO_MODE_IT_RISING;
  GPIO_InitStruct.Pull = GPIO_NOPULL;
  HAL_GPIO_Init(GPIOE, &GPIO_InitStruct);

  /*Configure GPIO pin : BUTTON_EXTI13_Pin */
  GPIO_InitStruct.Pin = BUTTON_EXTI13_Pin;
  GPIO_InitStruct.Mode = GPIO_MODE_IT_FALLING;
  GPIO_InitStruct.Pull = GPIO_NOPULL;
  HAL_GPIO_Init(BUTTON_EXTI13_GPIO_Port, &GPIO_InitStruct);

  /*Configure GPIO pins : ARD_D10_Pin PA3 PA4 PA7
                           SPBTLE_RF_RST_Pin */
  GPIO_InitStruct.Pin = ARD_D10_Pin|GPIO_PIN_3|GPIO_PIN_4|GPIO_PIN_7
                          |SPBTLE_RF_RST_Pin;
  GPIO_InitStruct.Mode = GPIO_MODE_OUTPUT_PP;
  GPIO_InitStruct.Pull = GPIO_NOPULL;
  GPIO_InitStruct.Speed = GPIO_SPEED_FREQ_LOW;
  HAL_GPIO_Init(GPIOA, &GPIO_InitStruct);

  /*Configure GPIO pins : ARD_D13_Pin ARD_D12_Pin */
  GPIO_InitStruct.Pin = ARD_D13_Pin|ARD_D12_Pin;
  GPIO_InitStruct.Mode = GPIO_MODE_AF_PP;
  GPIO_InitStruct.Pull = GPIO_NOPULL;
  GPIO_InitStruct.Speed = GPIO_SPEED_FREQ_VERY_HIGH;
  GPIO_InitStruct.Alternate = GPIO_AF5_SPI1;
  HAL_GPIO_Init(GPIOA, &GPIO_InitStruct);

  /*Configure GPIO pin : PB1 */
  GPIO_InitStruct.Pin = GPIO_PIN_1;
  GPIO_InitStruct.Mode = GPIO_MODE_OUTPUT_PP;
  GPIO_InitStruct.Pull = GPIO_NOPULL;
  GPIO_InitStruct.Speed = GPIO_SPEED_FREQ_HIGH;
  HAL_GPIO_Init(GPIOB, &GPIO_InitStruct);

  /*Configure GPIO pin : PB2 */
  GPIO_InitStruct.Pin = GPIO_PIN_2;
  GPIO_InitStruct.Mode = GPIO_MODE_INPUT;
  GPIO_InitStruct.Pull = GPIO_PULLUP;
  HAL_GPIO_Init(GPIOB, &GPIO_InitStruct);

  /*Configure GPIO pins : ISM43362_BOOT0_Pin ISM43362_WAKEUP_Pin LED2_Pin SPSGRF_915_SDN_Pin
                           PB4 SPSGRF_915_SPI3_CSN_Pin */
  GPIO_InitStruct.Pin = ISM43362_BOOT0_Pin|ISM43362_WAKEUP_Pin|LED2_Pin|SPSGRF_915_SDN_Pin
                          |GPIO_PIN_4|SPSGRF_915_SPI3_CSN_Pin;
  GPIO_InitStruct.Mode = GPIO_MODE_OUTPUT_PP;
  GPIO_InitStruct.Pull = GPIO_NOPULL;
  GPIO_InitStruct.Speed = GPIO_SPEED_FREQ_LOW;
  HAL_GPIO_Init(GPIOB, &GPIO_InitStruct);

  /*Configure GPIO pins : LPS22HB_INT_DRDY_EXTI0_Pin LSM6DSL_INT1_EXTI11_Pin ARD_D2_Pin HTS221_DRDY_EXTI15_Pin
                           PMOD_IRQ_EXTI12_Pin */
  GPIO_InitStruct.Pin = LPS22HB_INT_DRDY_EXTI0_Pin|LSM6DSL_INT1_EXTI11_Pin|ARD_D2_Pin|HTS221_DRDY_EXTI15_Pin
                          |PMOD_IRQ_EXTI12_Pin;
  GPIO_InitStruct.Mode = GPIO_MODE_IT_RISING;
  GPIO_InitStruct.Pull = GPIO_NOPULL;
  HAL_GPIO_Init(GPIOD, &GPIO_InitStruct);

  /*Configure GPIO pins : USB_OTG_FS_PWR_EN_Pin SPBTLE_RF_SPI3_CSN_Pin PMOD_RESET_Pin STSAFE_A100_RESET_Pin */
  GPIO_InitStruct.Pin = USB_OTG_FS_PWR_EN_Pin|SPBTLE_RF_SPI3_CSN_Pin|PMOD_RESET_Pin|STSAFE_A100_RESET_Pin;
  GPIO_InitStruct.Mode = GPIO_MODE_OUTPUT_PP;
  GPIO_InitStruct.Pull = GPIO_NOPULL;
  GPIO_InitStruct.Speed = GPIO_SPEED_FREQ_LOW;
  HAL_GPIO_Init(GPIOD, &GPIO_InitStruct);

  /*Configure GPIO pins : VL53L0X_XSHUT_Pin LED3_WIFI__LED4_BLE_Pin */
  GPIO_InitStruct.Pin = VL53L0X_XSHUT_Pin|LED3_WIFI__LED4_BLE_Pin;
  GPIO_InitStruct.Mode = GPIO_MODE_OUTPUT_PP;
  GPIO_InitStruct.Pull = GPIO_NOPULL;
  GPIO_InitStruct.Speed = GPIO_SPEED_FREQ_LOW;
  HAL_GPIO_Init(GPIOC, &GPIO_InitStruct);

  /*Configure GPIO pins : VL53L0X_GPIO1_EXTI7_Pin LSM3MDL_DRDY_EXTI8_Pin */
  GPIO_InitStruct.Pin = VL53L0X_GPIO1_EXTI7_Pin|LSM3MDL_DRDY_EXTI8_Pin;
  GPIO_InitStruct.Mode = GPIO_MODE_IT_RISING;
  GPIO_InitStruct.Pull = GPIO_NOPULL;
  HAL_GPIO_Init(GPIOC, &GPIO_InitStruct);

  /*Configure GPIO pin : PA15 */
  GPIO_InitStruct.Pin = GPIO_PIN_15;
  GPIO_InitStruct.Mode = GPIO_MODE_INPUT;
  GPIO_InitStruct.Pull = GPIO_PULLUP;
  HAL_GPIO_Init(GPIOA, &GPIO_InitStruct);

  /*Configure GPIO pin : PMOD_SPI2_SCK_Pin */
  GPIO_InitStruct.Pin = PMOD_SPI2_SCK_Pin;
  GPIO_InitStruct.Mode = GPIO_MODE_AF_PP;
  GPIO_InitStruct.Pull = GPIO_NOPULL;
  GPIO_InitStruct.Speed = GPIO_SPEED_FREQ_VERY_HIGH;
  GPIO_InitStruct.Alternate = GPIO_AF5_SPI2;
  HAL_GPIO_Init(PMOD_SPI2_SCK_GPIO_Port, &GPIO_InitStruct);

  /*Configure GPIO pins : PMOD_UART2_CTS_Pin PMOD_UART2_RTS_Pin PMOD_UART2_TX_Pin PMOD_UART2_RX_Pin */
  GPIO_InitStruct.Pin = PMOD_UART2_CTS_Pin|PMOD_UART2_RTS_Pin|PMOD_UART2_TX_Pin|PMOD_UART2_RX_Pin;
  GPIO_InitStruct.Mode = GPIO_MODE_AF_PP;
  GPIO_InitStruct.Pull = GPIO_NOPULL;
  GPIO_InitStruct.Speed = GPIO_SPEED_FREQ_VERY_HIGH;
  GPIO_InitStruct.Alternate = GPIO_AF7_USART2;
  HAL_GPIO_Init(GPIOD, &GPIO_InitStruct);

  /*Configure GPIO pins : ARD_D15_Pin ARD_D14_Pin */
  GPIO_InitStruct.Pin = ARD_D15_Pin|ARD_D14_Pin;
  GPIO_InitStruct.Mode = GPIO_MODE_AF_OD;
  GPIO_InitStruct.Pull = GPIO_NOPULL;
  GPIO_InitStruct.Speed = GPIO_SPEED_FREQ_VERY_HIGH;
  GPIO_InitStruct.Alternate = GPIO_AF4_I2C1;
  HAL_GPIO_Init(GPIOB, &GPIO_InitStruct);

  /* EXTI interrupt init*/
  HAL_NVIC_SetPriority(EXTI9_5_IRQn, 0, 0);
  HAL_NVIC_EnableIRQ(EXTI9_5_IRQn);

  HAL_NVIC_SetPriority(EXTI15_10_IRQn, 0, 0);
  HAL_NVIC_EnableIRQ(EXTI15_10_IRQn);

}

void Error_Handler(void)
{
}
